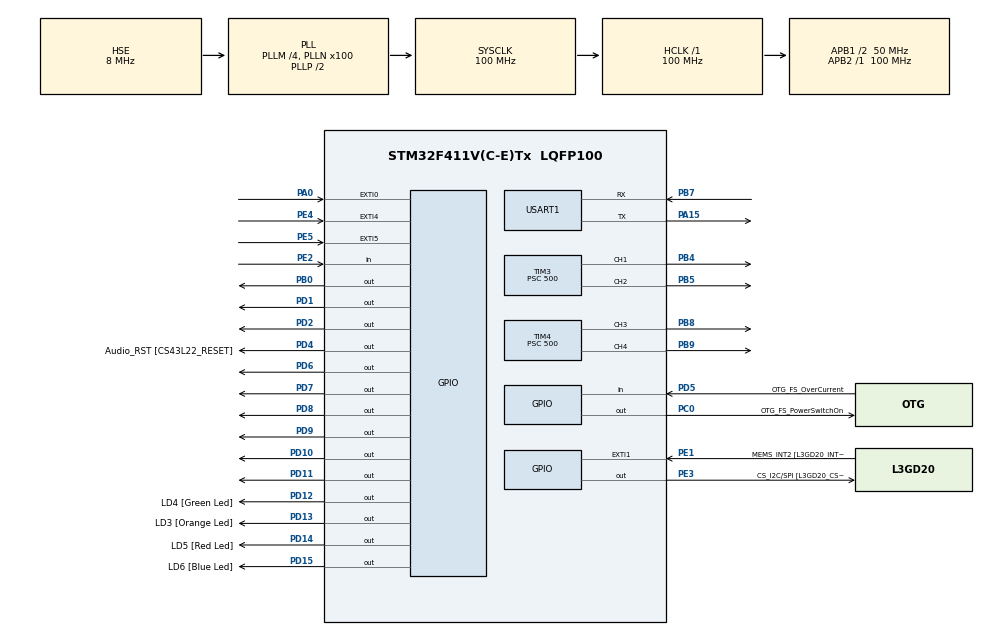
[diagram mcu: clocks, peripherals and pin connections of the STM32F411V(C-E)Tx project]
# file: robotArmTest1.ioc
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Mcu.Family=STM32F4
Mcu.Name=STM32F411V(C-E)Tx
Mcu.Package=LQFP100
NVIC.PriorityGroup=NVIC_PRIORITYGROUP_0
NVIC.TIM3_IRQn=true\:0\:0\:false\:false\:true\:true\:true
NVIC.TIM4_IRQn=true\:0\:0\:false\:false\:true\:true\:true
PA0-WKUP.GPIO_ModeDefaultEXTI=GPIO_MODE_EVT_RISING
PA0-WKUP.Signal=GPXTI0
PA10.GPIO_Label=OTG_FS_ID
PA10.Signal=USB_OTG_FS_ID
PA11.GPIO_Label=OTG_FS_DM
PA11.Signal=USB_OTG_FS_DM
PA12.GPIO_Label=OTG_FS_DP
PA12.Signal=USB_OTG_FS_DP
PA13.GPIO_Label=SWDIO
PA13.Mode=Serial_Wire
PA13.Signal=SYS_JTMS-SWDIO
PA14.GPIO_Label=SWCLK
PA14.Mode=Serial_Wire
PA14.Signal=SYS_JTCK-SWCLK
PA15.Mode=Asynchronous
PA15.Signal=USART1_TX
PA4.GPIO_Label=I2S3_WS [CS43L22_LRCK]
PA4.GPIO_Mode=GPIO_MODE_AF_PP
PA4.GPIO_PuPd=GPIO_NOPULL
PA4.GPIO_Speed=GPIO_SPEED_FREQ_LOW
PA4.Signal=I2S3_WS
PA5.GPIO_Label=SPI1_SCK [L3GD20_SC/SPC]
PA5.Signal=SPI1_SCK
PA6.GPIO_Label=SPI1_MISO [L3GD20_AS0/SDO]
PA6.Signal=SPI1_MISO
PA7.GPIO_Label=SPI1_MOSI [L3GD20_SDA/SDI/SDO]
PA7.Signal=SPI1_MOSI
PA9.GPIO_Label=VBUS_FS
PA9.Signal=USB_OTG_FS_VBUS
PB0.Signal=GPIO_Output
PB10.GPIO_Label=CLK_IN [MP45DT02_CLK]
PB10.Signal=I2S2_CK
PB12.Signal=I2S2_WS
PB3.GPIO_Label=SWO
PB3.Signal=SYS_JTDO-SWO
PB4.Signal=S_TIM3_CH1
PB5.Signal=S_TIM3_CH2
PB6.GPIO_Label=Audio_SCL [CS43L22_SCL]
PB6.GPIO_Mode=GPIO_MODE_AF_OD
PB6.GPIO_PuPd=GPIO_NOPULL
PB6.GPIO_Speed=GPIO_SPEED_FREQ_LOW
PB6.Signal=I2C1_SCL
PB7.Mode=Asynchronous
PB7.Signal=USART1_RX
PB8.Signal=S_TIM4_CH3
PB9.Signal=S_TIM4_CH4
PC0.GPIO_Label=OTG_FS_PowerSwitchOn
PC0.PinState=GPIO_PIN_SET
PC0.Signal=GPIO_Output
PC10.GPIO_Label=I2S3_SCK [CS43L22_SCLK]
PC10.GPIO_Mode=GPIO_MODE_AF_PP
PC10.GPIO_PuPd=GPIO_NOPULL
PC10.GPIO_Speed=GPIO_SPEED_FREQ_LOW
PC10.Signal=I2S3_CK
PC12.GPIO_Label=I2S3_SD [CS43L22_SDIN]
PC12.GPIO_Mode=GPIO_MODE_AF_PP
PC12.GPIO_PuPd=GPIO_NOPULL
PC12.GPIO_Speed=GPIO_SPEED_FREQ_LOW
PC12.Signal=I2S3_SD
PC14-OSC32_IN.GPIO_Label=PC14-OSC32_IN
PC14-OSC32_IN.Signal=RCC_OSC32_IN
PC15-OSC32_OUT.GPIO_Label=PC15-OSC32_OUT
PC15-OSC32_OUT.Signal=RCC_OSC32_OUT
PC3.GPIO_Label=PDM_OUT [MP45DT02_DOUT]
PC3.Signal=I2S2_SD
PC7.GPIO_Label=I2S3_MCK [CS43L22_MCLK]
PC7.GPIO_Mode=GPIO_MODE_AF_PP
PC7.GPIO_PuPd=GPIO_NOPULL
PC7.GPIO_Speed=GPIO_SPEED_FREQ_LOW
PC7.Signal=I2S3_MCK
PD1.Signal=GPIO_Output
PD10.Signal=GPIO_Output
PD11.Signal=GPIO_Output
PD12.GPIO_Label=LD4 [Green Led]
PD12.GPIO_PuPd=GPIO_NOPULL
PD12.GPIO_Speed=GPIO_SPEED_FREQ_LOW
PD12.Signal=GPIO_Output
PD13.GPIO_Label=LD3 [Orange Led]
PD13.GPIO_PuPd=GPIO_NOPULL
PD13.GPIO_Speed=GPIO_SPEED_FREQ_LOW
PD13.Signal=GPIO_Output
PD14.GPIO_Label=LD5 [Red Led]
PD14.GPIO_PuPd=GPIO_NOPULL
PD14.GPIO_Speed=GPIO_SPEED_FREQ_LOW
PD14.Signal=GPIO_Output
PD15.GPIO_Label=LD6 [Blue Led]
PD15.GPIO_PuPd=GPIO_NOPULL
PD15.GPIO_Speed=GPIO_SPEED_FREQ_LOW
PD15.Signal=GPIO_Output
PD2.Signal=GPIO_Output
PD4.GPIO_Label=Audio_RST [CS43L22_RESET]
PD4.Signal=GPIO_Output
PD5.GPIO_Label=OTG_FS_OverCurrent
PD5.Signal=GPIO_Input
PD6.Signal=GPIO_Output
PD7.Signal=GPIO_Output
PD8.Signal=GPIO_Output
PD9.Signal=GPIO_Output
PE1.GPIO_Label=MEMS_INT2 [L3GD20_INT2]
PE1.GPIO_ModeDefaultEXTI=GPIO_MODE_EVT_RISING
PE1.Signal=GPXTI1
PE2.Signal=GPIO_Input
PE3.GPIO_Label=CS_I2C/SPI [L3GD20_CS_I2C/SPI]
PE3.Signal=GPIO_Output
PE4.GPIO_ModeDefaultEXTI=GPIO_MODE_EVT_RISING
PE4.Signal=GPXTI4
PE5.GPIO_ModeDefaultEXTI=GPIO_MODE_EVT_RISING
PE5.Signal=GPXTI5
PH0\ -\ OSC_IN.GPIO_Label=PH0-OSC_IN
PH0\ -\ OSC_IN.Mode=HSE-External-Oscillator
PH0\ -\ OSC_IN.Signal=RCC_OSC_IN
PH1\ -\ OSC_OUT.GPIO_Label=PH1-OSC_OUT
PH1\ -\ OSC_OUT.Mode=HSE-External-Oscillator
PH1\ -\ OSC_OUT.Signal=RCC_OSC_OUT
ProjectManager.HeapSize=0x200
ProjectManager.StackSize=0x400
ProjectManager.TargetToolchain=STM32CubeIDE
RCC.48MHZClocksFreq_Value=25000000
RCC.AHBFreq_Value=100000000
RCC.APB1CLKDivider=RCC_HCLK_DIV2
RCC.APB1Freq_Value=50000000
RCC.APB1TimFreq_Value=100000000
RCC.APB2Freq_Value=100000000
RCC.APB2TimFreq_Value=100000000
RCC.CortexFreq_Value=100000000
RCC.HCLKFreq_Value=100000000
RCC.HSE_VALUE=8000000
RCC.HSI_VALUE=16000000
RCC.LSE_VALUE=32768
RCC.PLLI2SM=5
RCC.PLLI2SN=200
RCC.PLLM=4
RCC.PLLN=100
RCC.PLLQ=8
RCC.PLLSourceVirtual=RCC_PLLSOURCE_HSE
RCC.SYSCLKFreq_VALUE=100000000
RCC.SYSCLKSource=RCC_SYSCLKSOURCE_PLLCLK
RCC.VCOOutputFreq_Value=200000000
SH.S_TIM3_CH1.0=TIM3_CH1,PWM Generation1 CH1
SH.S_TIM3_CH2.0=TIM3_CH2,PWM Generation2 CH2
SH.S_TIM4_CH3.0=TIM4_CH3,PWM Generation3 CH3
SH.S_TIM4_CH4.0=TIM4_CH4,PWM Generation4 CH4
TIM3.Channel-PWM\ Generation1\ CH1=TIM_CHANNEL_1
TIM3.Channel-PWM\ Generation2\ CH2=TIM_CHANNEL_2
TIM3.Period=255
TIM3.Prescaler=500
TIM4.Channel-PWM\ Generation3\ CH3=TIM_CHANNEL_3
TIM4.Channel-PWM\ Generation4\ CH4=TIM_CHANNEL_4
TIM4.Period=255
TIM4.Prescaler=500
USART1.VirtualMode=VM_ASYNC
VP_TIM3_VS_ClockSourceINT.Mode=Internal
VP_TIM4_VS_ClockSourceINT.Mode=Internal
board=STM32F411E-DISCO

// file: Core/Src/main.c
/* USER CODE BEGIN Header */
/**
  ******************************************************************************
  * @file           : main.c
  * @brief          : Main program body
  ******************************************************************************
  * @attention
  *
  * <h2><center>&copy; Copyright (c) 2021 STMicroelectronics.
  * All rights reserved.</center></h2>
  *
  * This software component is licensed by ST under BSD 3-Clause license,
  * the "License"; You may not use this file except in compliance with the
  * License. You may obtain a copy of the License at:
  *                        opensource.org/licenses/BSD-3-Clause
  *
  ******************************************************************************
  */
/* USER CODE END Header */

#include "main.h"

/* USER CODE BEGIN Includes */
#include "stepperMotor.h"
#include "uartDriver.h"
/* USER CODE END Includes */

TIM_HandleTypeDef htim3;
TIM_HandleTypeDef htim4;

UART_HandleTypeDef huart1;

/* USER CODE BEGIN PV */
typedef struct
{
	uint32_t step[BUFFER_SIZE];
	uint32_t dir[BUFFER_SIZE];
	uint32_t headPointer;
	uint32_t tailPointer;
} stepMotorCommandT;

stepMotorCommandT stepMotorCommand[NUMBER_OF_MOTORS];

volatile int motor1intFlag=0, motor2intFlag=0, motor3intFlag=0;

/* USER CODE END PV */

void SystemClock_Config(void);
static void MX_GPIO_Init(void);
static void MX_TIM3_Init(void);
static void MX_TIM4_Init(void);
static void MX_USART1_UART_Init(void);
/* USER CODE BEGIN PFP */
void motor_get_command(void);
uint32_t motorCommCount(stepMotorCommandT* motor);
/* USER CODE END PFP */

int main(void)
{
  /* USER CODE BEGIN 1 */
	uint32_t i;
int localmotor1intFlag=0, localmotor2intFlag=0, localmotor3intFlag=0;
  /* USER CODE END 1 */

  /* MCU Configuration--------------------------------------------------------*/

  /* Reset of all peripherals, Initializes the Flash interface and the Systick. */
  HAL_Init();

  /* Configure the system clock */
  SystemClock_Config();

  /* Initialize all configured peripherals */
  MX_GPIO_Init();
  MX_TIM3_Init();
  MX_TIM4_Init();
  MX_USART1_UART_Init();
  /* USER CODE BEGIN 2 */
  __HAL_TIM_SET_COMPARE(&htim3,TIM_CHANNEL_1, 128);
  __HAL_TIM_SET_COMPARE(&htim3,TIM_CHANNEL_2, 128);
  __HAL_TIM_SET_COMPARE(&htim4,TIM_CHANNEL_3, 128);
  //__HAL_TIM_SET_COMPARE(&htim4,TIM_CHANNEL_4, 128);
  HAL_Delay(10);
  /* USER CODE END 2 */

  /* Infinite loop */
  /* USER CODE BEGIN WHILE */
  while (1)
  {
	  motor_get_command();
	  for(i = 0; i < NUMBER_OF_MOTORS; i++)
	  {
		  if ((motorCommCount(&stepMotorCommand[i]) > 0) && (stepperMotors[i].state == 0))
		  {
			stepperMotorMove(i, (uint8_t)(stepMotorCommand[i].dir[stepMotorCommand[i].tailPointer]), stepMotorCommand[i].step[stepMotorCommand[i].tailPointer]);
			stepMotorCommand[i].tailPointer++;
			if(stepMotorCommand[i].tailPointer == BUFFER_SIZE)
			{
				stepMotorCommand[i].tailPointer = 0;
			}
		  }
	  }

	  localmotor1intFlag = motor1intFlag;
	  localmotor2intFlag = motor2intFlag;
	  localmotor3intFlag = motor3intFlag;
	  //localmotor4intFlag = motor4intFlag;

	  if (localmotor1intFlag==1)
	  {
		  motor1intFlag = 0;
		  stepperMotors[0].stepCounter++;
		  if(stepperMotors[0].stepCounter == stepperMotors[0].step)
		  {
			  //HAL_TIM_PWM_Stop_IT(&htim3,TIM_CHANNEL_1);	// PWM'i durdur.
			  TIM3->CCER &= (~TIM_CCER_CC1E);
			  stepperMotors[0].stepCounter = 0;
			  stepperMotors[0].state = 0;
			  stepperMotors[0].step = 0;
		  }
		  else
		  {
			  TIM3->DIER |= TIM_DIER_CC1IE;
		  }
	  }

	  if (localmotor2intFlag==1)
	  {
		  motor2intFlag = 0;
		  stepperMotors[1].stepCounter++;
		  if(stepperMotors[1].stepCounter == stepperMotors[1].step)
		  {
			  //HAL_TIM_PWM_Stop_IT(&htim3, TIM_CHANNEL_2);
			  TIM3->CCER &= (~TIM_CCER_CC2E);
			  stepperMotors[1].stepCounter = 0;
			  stepperMotors[1].state = 0;
			  stepperMotors[1].step = 0;
		  }
		  else
		  {
			  TIM3->DIER |= TIM_DIER_CC2IE;
		  }
	  }

	  if (localmotor3intFlag==1)
	  {
		  motor3intFlag = 0;
		  stepperMotors[2].stepCounter++;
		  if (stepperMotors[2].stepCounter == stepperMotors[2].step)
		  {
			  //HAL_TIM_PWM_Stop_IT(&htim4, TIM_CHANNEL_3);
			  TIM4->CCER &= (~TIM_CCER_CC3E);
			  stepperMotors[2].stepCounter = 0;
			  stepperMotors[2].state = 0;
			  stepperMotors[2].step = 0;
		  }
		  else
		  {
			  TIM4->DIER |= TIM_DIER_CC3IE;
		  }
	  }

    /* USER CODE END WHILE */

  }
}

void SystemClock_Config(void)
{
  RCC_OscInitTypeDef RCC_OscInitStruct = {0};
  RCC_ClkInitTypeDef RCC_ClkInitStruct = {0};

  /** Configure the main internal regulator output voltage
  */
  __HAL_RCC_PWR_CLK_ENABLE();
  __HAL_PWR_VOLTAGESCALING_CONFIG(PWR_REGULATOR_VOLTAGE_SCALE1);
  /** Initializes the CPU, AHB and APB busses clocks
  */
  RCC_OscInitStruct.OscillatorType = RCC_OSCILLATORTYPE_HSE;
  RCC_OscInitStruct.HSEState = RCC_HSE_ON;
  RCC_OscInitStruct.PLL.PLLState = RCC_PLL_ON;
  RCC_OscInitStruct.PLL.PLLSource = RCC_PLLSOURCE_HSE;
  RCC_OscInitStruct.PLL.PLLM = 4;
  RCC_OscInitStruct.PLL.PLLN = 100;
  RCC_OscInitStruct.PLL.PLLP = RCC_PLLP_DIV2;
  RCC_OscInitStruct.PLL.PLLQ = 8;
  if (HAL_RCC_OscConfig(&RCC_OscInitStruct) != HAL_OK)
  {
    Error_Handler();
  }
  /** Initializes the CPU, AHB and APB busses clocks
  */
  RCC_ClkInitStruct.ClockType = RCC_CLOCKTYPE_HCLK|RCC_CLOCKTYPE_SYSCLK
                              |RCC_CLOCKTYPE_PCLK1|RCC_CLOCKTYPE_PCLK2;
  RCC_ClkInitStruct.SYSCLKSource = RCC_SYSCLKSOURCE_PLLCLK;
  RCC_ClkInitStruct.AHBCLKDivider = RCC_SYSCLK_DIV1;
  RCC_ClkInitStruct.APB1CLKDivider = RCC_HCLK_DIV2;
  RCC_ClkInitStruct.APB2CLKDivider = RCC_HCLK_DIV1;

  if (HAL_RCC_ClockConfig(&RCC_ClkInitStruct, FLASH_LATENCY_3) != HAL_OK)
  {
    Error_Handler();
  }
}

static void MX_TIM3_Init(void)
{

  TIM_ClockConfigTypeDef sClockSourceConfig = {0};
  TIM_MasterConfigTypeDef sMasterConfig = {0};
  TIM_OC_InitTypeDef sConfigOC = {0};

  htim3.Instance = TIM3;
  htim3.Init.Prescaler = 12000;
  htim3.Init.CounterMode = TIM_COUNTERMODE_UP;
  htim3.Init.Period = 255;
  htim3.Init.ClockDivision = TIM_CLOCKDIVISION_DIV1;
  htim3.Init.AutoReloadPreload = TIM_AUTORELOAD_PRELOAD_DISABLE;
  if (HAL_TIM_Base_Init(&htim3) != HAL_OK)
  {
    Error_Handler();
  }
  sClockSourceConfig.ClockSource = TIM_CLOCKSOURCE_INTERNAL;
  if (HAL_TIM_ConfigClockSource(&htim3, &sClockSourceConfig) != HAL_OK)
  {
    Error_Handler();
  }
  if (HAL_TIM_PWM_Init(&htim3) != HAL_OK)
  {
    Error_Handler();
  }
  sMasterConfig.MasterOutputTrigger = TIM_TRGO_RESET;
  sMasterConfig.MasterSlaveMode = TIM_MASTERSLAVEMODE_DISABLE;
  if (HAL_TIMEx_MasterConfigSynchronization(&htim3, &sMasterConfig) != HAL_OK)
  {
    Error_Handler();
  }
  sConfigOC.OCMode = TIM_OCMODE_PWM1;
  sConfigOC.Pulse = 0;
  sConfigOC.OCPolarity = TIM_OCPOLARITY_HIGH;
  sConfigOC.OCFastMode = TIM_OCFAST_DISABLE;
  if (HAL_TIM_PWM_ConfigChannel(&htim3, &sConfigOC, TIM_CHANNEL_1) != HAL_OK)
  {
    Error_Handler();
  }
  if (HAL_TIM_PWM_ConfigChannel(&htim3, &sConfigOC, TIM_CHANNEL_2) != HAL_OK)
  {
    Error_Handler();
  }
  HAL_TIM_MspPostInit(&htim3);

}

static void MX_TIM4_Init(void)
{

  TIM_ClockConfigTypeDef sClockSourceConfig = {0};
  TIM_MasterConfigTypeDef sMasterConfig = {0};
  TIM_OC_InitTypeDef sConfigOC = {0};

  htim4.Instance = TIM4;
  htim4.Init.Prescaler = 4000;
  htim4.Init.CounterMode = TIM_COUNTERMODE_UP;
  htim4.Init.Period = 255;
  htim4.Init.ClockDivision = TIM_CLOCKDIVISION_DIV1;
  htim4.Init.AutoReloadPreload = TIM_AUTORELOAD_PRELOAD_DISABLE;
  if (HAL_TIM_Base_Init(&htim4) != HAL_OK)
  {
    Error_Handler();
  }
  sClockSourceConfig.ClockSource = TIM_CLOCKSOURCE_INTERNAL;
  if (HAL_TIM_ConfigClockSource(&htim4, &sClockSourceConfig) != HAL_OK)
  {
    Error_Handler();
  }
  if (HAL_TIM_PWM_Init(&htim4) != HAL_OK)
  {
    Error_Handler();
  }
  sMasterConfig.MasterOutputTrigger = TIM_TRGO_RESET;
  sMasterConfig.MasterSlaveMode = TIM_MASTERSLAVEMODE_DISABLE;
  if (HAL_TIMEx_MasterConfigSynchronization(&htim4, &sMasterConfig) != HAL_OK)
  {
    Error_Handler();
  }
  sConfigOC.OCMode = TIM_OCMODE_PWM1;
  sConfigOC.Pulse = 0;
  sConfigOC.OCPolarity = TIM_OCPOLARITY_HIGH;
  sConfigOC.OCFastMode = TIM_OCFAST_DISABLE;
  if (HAL_TIM_PWM_ConfigChannel(&htim4, &sConfigOC, TIM_CHANNEL_3) != HAL_OK)
  {
    Error_Handler();
  }
  if (HAL_TIM_PWM_ConfigChannel(&htim4, &sConfigOC, TIM_CHANNEL_4) != HAL_OK)
  {
    Error_Handler();
  }
  HAL_TIM_MspPostInit(&htim4);

}

static void MX_USART1_UART_Init(void)
{

  huart1.Instance = USART1;
  huart1.Init.BaudRate = 115200;
  huart1.Init.WordLength = UART_WORDLENGTH_8B;
  huart1.Init.StopBits = UART_STOPBITS_1;
  huart1.Init.Parity = UART_PARITY_NONE;
  huart1.Init.Mode = UART_MODE_TX_RX;
  huart1.Init.HwFlowCtl = UART_HWCONTROL_NONE;
  huart1.Init.OverSampling = UART_OVERSAMPLING_16;
  if (HAL_UART_Init(&huart1) != HAL_OK)
  {
    Error_Handler();
  }
  /* USER CODE BEGIN USART1_Init 2 */
  SET_BIT(USART1->CR1, USART_CR1_RXNEIE);

  HAL_NVIC_SetPriority(USART1_IRQn, 1, 0);
  HAL_NVIC_EnableIRQ(USART1_IRQn);
  /* USER CODE END USART1_Init 2 */

}

static void MX_GPIO_Init(void)
{
  GPIO_InitTypeDef GPIO_InitStruct = {0};

  /* GPIO Ports Clock Enable */
  __HAL_RCC_GPIOE_CLK_ENABLE();
  __HAL_RCC_GPIOC_CLK_ENABLE();
  __HAL_RCC_GPIOH_CLK_ENABLE();
  __HAL_RCC_GPIOA_CLK_ENABLE();
  __HAL_RCC_GPIOB_CLK_ENABLE();
  __HAL_RCC_GPIOD_CLK_ENABLE();

  /*Configure GPIO pin Output Level */
  HAL_GPIO_WritePin(CS_I2C_SPI_GPIO_Port, CS_I2C_SPI_Pin, GPIO_PIN_RESET);

  /*Configure GPIO pin Output Level */
  HAL_GPIO_WritePin(OTG_FS_PowerSwitchOn_GPIO_Port, OTG_FS_PowerSwitchOn_Pin, GPIO_PIN_SET);

  /*Configure GPIO pin Output Level */
  HAL_GPIO_WritePin(GPIOB, GPIO_PIN_0, GPIO_PIN_RESET);

  /*Configure GPIO pin Output Level */
  HAL_GPIO_WritePin(GPIOD, GPIO_PIN_8|GPIO_PIN_9|GPIO_PIN_10|GPIO_PIN_11
                          |LD4_Pin|LD3_Pin|LD5_Pin|LD6_Pin
                          |GPIO_PIN_1|GPIO_PIN_2|Audio_RST_Pin|GPIO_PIN_6
                          |GPIO_PIN_7, GPIO_PIN_RESET);

  /*Configure GPIO pin : PE2 */
  GPIO_InitStruct.Pin = GPIO_PIN_2;
  GPIO_InitStruct.Mode = GPIO_MODE_INPUT;
  GPIO_InitStruct.Pull = GPIO_NOPULL;
  HAL_GPIO_Init(GPIOE, &GPIO_InitStruct);

  /*Configure GPIO pin : CS_I2C_SPI_Pin */
  GPIO_InitStruct.Pin = CS_I2C_SPI_Pin;
  GPIO_InitStruct.Mode = GPIO_MODE_OUTPUT_PP;
  GPIO_InitStruct.Pull = GPIO_NOPULL;
  GPIO_InitStruct.Speed = GPIO_SPEED_FREQ_LOW;
  HAL_GPIO_Init(CS_I2C_SPI_GPIO_Port, &GPIO_InitStruct);

  /*Configure GPIO pins : PE4 PE5 MEMS_INT2_Pin */
  GPIO_InitStruct.Pin = GPIO_PIN_4|GPIO_PIN_5|MEMS_INT2_Pin;
  GPIO_InitStruct.Mode = GPIO_MODE_EVT_RISING;
  GPIO_InitStruct.Pull = GPIO_NOPULL;
  HAL_GPIO_Init(GPIOE, &GPIO_InitStruct);

  /*Configure GPIO pin : OTG_FS_PowerSwitchOn_Pin */
  GPIO_InitStruct.Pin = OTG_FS_PowerSwitchOn_Pin;
  GPIO_InitStruct.Mode = GPIO_MODE_OUTPUT_PP;
  GPIO_InitStruct.Pull = GPIO_NOPULL;
  GPIO_InitStruct.Speed = GPIO_SPEED_FREQ_LOW;
  HAL_GPIO_Init(OTG_FS_PowerSwitchOn_GPIO_Port, &GPIO_InitStruct);

  /*Configure GPIO pin : PDM_OUT_Pin */
  GPIO_InitStruct.Pin = PDM_OUT_Pin;
  GPIO_InitStruct.Mode = GPIO_MODE_AF_PP;
  GPIO_InitStruct.Pull = GPIO_NOPULL;
  GPIO_InitStruct.Speed = GPIO_SPEED_FREQ_LOW;
  GPIO_InitStruct.Alternate = GPIO_AF5_SPI2;
  HAL_GPIO_Init(PDM_OUT_GPIO_Port, &GPIO_InitStruct);

  /*Configure GPIO pin : PA0 */
  GPIO_InitStruct.Pin = GPIO_PIN_0;
  GPIO_InitStruct.Mode = GPIO_MODE_EVT_RISING;
  GPIO_InitStruct.Pull = GPIO_NOPULL;
  HAL_GPIO_Init(GPIOA, &GPIO_InitStruct);

  /*Configure GPIO pin : I2S3_WS_Pin */
  GPIO_InitStruct.Pin = I2S3_WS_Pin;
  GPIO_InitStruct.Mode = GPIO_MODE_AF_PP;
  GPIO_InitStruct.Pull = GPIO_NOPULL;
  GPIO_InitStruct.Speed = GPIO_SPEED_FREQ_LOW;
  GPIO_InitStruct.Alternate = GPIO_AF6_SPI3;
  HAL_GPIO_Init(I2S3_WS_GPIO_Port, &GPIO_InitStruct);

  /*Configure GPIO pins : SPI1_SCK_Pin SPI1_MISO_Pin SPI1_MOSI_Pin */
  GPIO_InitStruct.Pin = SPI1_SCK_Pin|SPI1_MISO_Pin|SPI1_MOSI_Pin;
  GPIO_InitStruct.Mode = GPIO_MODE_AF_PP;
  GPIO_InitStruct.Pull = GPIO_NOPULL;
  GPIO_InitStruct.Speed = GPIO_SPEED_FREQ_VERY_HIGH;
  GPIO_InitStruct.Alternate = GPIO_AF5_SPI1;
  HAL_GPIO_Init(GPIOA, &GPIO_InitStruct);

  /*Configure GPIO pin : PB0 */
  GPIO_InitStruct.Pin = GPIO_PIN_0;
  GPIO_InitStruct.Mode = GPIO_MODE_OUTPUT_PP;
  GPIO_InitStruct.Pull = GPIO_NOPULL;
  GPIO_InitStruct.Speed = GPIO_SPEED_FREQ_LOW;
  HAL_GPIO_Init(GPIOB, &GPIO_InitStruct);

  /*Configure GPIO pins : CLK_IN_Pin PB12 */
  GPIO_InitStruct.Pin = CLK_IN_Pin|GPIO_PIN_12;
  GPIO_InitStruct.Mode = GPIO_MODE_AF_PP;
  GPIO_InitStruct.Pull = GPIO_NOPULL;
  GPIO_InitStruct.Speed = GPIO_SPEED_FREQ_LOW;
  GPIO_InitStruct.Alternate = GPIO_AF5_SPI2;
  HAL_GPIO_Init(GPIOB, &GPIO_InitStruct);

  /*Configure GPIO pins : PD8 PD9 PD10 PD11
                           LD4_Pin LD3_Pin LD5_Pin LD6_Pin
                           PD1 PD2 Audio_RST_Pin PD6
                           PD7 */
  GPIO_InitStruct.Pin = GPIO_PIN_8|GPIO_PIN_9|GPIO_PIN_10|GPIO_PIN_11
                          |LD4_Pin|LD3_Pin|LD5_Pin|LD6_Pin
                          |GPIO_PIN_1|GPIO_PIN_2|Audio_RST_Pin|GPIO_PIN_6
                          |GPIO_PIN_7;
  GPIO_InitStruct.Mode = GPIO_MODE_OUTPUT_PP;
  GPIO_InitStruct.Pull = GPIO_NOPULL;
  GPIO_InitStruct.Speed = GPIO_SPEED_FREQ_LOW;
  HAL_GPIO_Init(GPIOD, &GPIO_InitStruct);

  /*Configure GPIO pins : I2S3_MCK_Pin I2S3_SCK_Pin I2S3_SD_Pin */
  GPIO_InitStruct.Pin = I2S3_MCK_Pin|I2S3_SCK_Pin|I2S3_SD_Pin;
  GPIO_InitStruct.Mode = GPIO_MODE_AF_PP;
  GPIO_InitStruct.Pull = GPIO_NOPULL;
  GPIO_InitStruct.Speed = GPIO_SPEED_FREQ_LOW;
  GPIO_InitStruct.Alternate = GPIO_AF6_SPI3;
  HAL_GPIO_Init(GPIOC, &GPIO_InitStruct);

  /*Configure GPIO pin : VBUS_FS_Pin */
  GPIO_InitStruct.Pin = VBUS_FS_Pin;
  GPIO_InitStruct.Mode = GPIO_MODE_INPUT;
  GPIO_InitStruct.Pull = GPIO_NOPULL;
  HAL_GPIO_Init(VBUS_FS_GPIO_Port, &GPIO_InitStruct);

  /*Configure GPIO pins : OTG_FS_ID_Pin OTG_FS_DM_Pin OTG_FS_DP_Pin */
  GPIO_InitStruct.Pin = OTG_FS_ID_Pin|OTG_FS_DM_Pin|OTG_FS_DP_Pin;
  GPIO_InitStruct.Mode = GPIO_MODE_AF_PP;
  GPIO_InitStruct.Pull = GPIO_NOPULL;
  GPIO_InitStruct.Speed = GPIO_SPEED_FREQ_VERY_HIGH;
  GPIO_InitStruct.Alternate = GPIO_AF10_OTG_FS;
  HAL_GPIO_Init(GPIOA, &GPIO_InitStruct);

  /*Configure GPIO pin : OTG_FS_OverCurrent_Pin */
  GPIO_InitStruct.Pin = OTG_FS_OverCurrent_Pin;
  GPIO_InitStruct.Mode = GPIO_MODE_INPUT;
  GPIO_InitStruct.Pull = GPIO_NOPULL;
  HAL_GPIO_Init(OTG_FS_OverCurrent_GPIO_Port, &GPIO_InitStruct);

  /*Configure GPIO pin : Audio_SCL_Pin */
  GPIO_InitStruct.Pin = Audio_SCL_Pin;
  GPIO_InitStruct.Mode = GPIO_MODE_AF_OD;
  GPIO_InitStruct.Pull = GPIO_PULLUP;
  GPIO_InitStruct.Speed = GPIO_SPEED_FREQ_LOW;
  GPIO_InitStruct.Alternate = GPIO_AF4_I2C1;
  HAL_GPIO_Init(Audio_SCL_GPIO_Port, &GPIO_InitStruct);

}

/* USER CODE BEGIN 4 */
uint32_t motorCommCount(stepMotorCommandT* motor)
{

	return (motor->headPointer - motor->tailPointer);

}

void motor_get_command(void)
{

	uint32_t motorCommandTempBuff[5]={0};

	if (USART_BytesToRead() > 0 && (USART_BytesToRead() %5 == 0))
	{
		uint32_t i;
		for (i=0; i < 5; i++)
		{
			motorCommandTempBuff[i] = (uint32_t)(USART_ReadByte());
		}

		if (motorCommandTempBuff[0] == '@')
		{
			switch (motorCommandTempBuff[1])
			{

			case 1:
			{
				stepMotorCommand[0].step[stepMotorCommand[0].headPointer] =	(motorCommandTempBuff[3] | (motorCommandTempBuff[4] << 8));
				stepMotorCommand[0].dir[stepMotorCommand[0].headPointer] =	motorCommandTempBuff[2];
				stepMotorCommand[0].headPointer++;
				if (stepMotorCommand[0].headPointer == BUFFER_SIZE)
				{
					stepMotorCommand[0].headPointer = 0;
				}
				break;
			}

			case 2:
			{
				stepMotorCommand[1].step[stepMotorCommand[1].headPointer] =	(motorCommandTempBuff[3] | (motorCommandTempBuff[4] << 8));
				stepMotorCommand[1].dir[stepMotorCommand[1].headPointer] =	motorCommandTempBuff[2];
				stepMotorCommand[1].headPointer++;
				if (stepMotorCommand[1].headPointer == BUFFER_SIZE)
				{
					stepMotorCommand[1].headPointer = 0;
				}
				break;
			}

			case 3:
			{
				stepMotorCommand[2].step[stepMotorCommand[2].headPointer] =	(motorCommandTempBuff[3] | (motorCommandTempBuff[4] << 8));
				stepMotorCommand[2].dir[stepMotorCommand[2].headPointer] =	motorCommandTempBuff[2];
				stepMotorCommand[2].headPointer++;
				if (stepMotorCommand[2].headPointer == BUFFER_SIZE)
				{
					stepMotorCommand[2].headPointer = 0;
				}
				break;
			}

			default:
			{
				break;
			}

			}
		}
	}

}
/* USER CODE END 4 */

void Error_Handler(void)
{
}

/************************ (C) COPYRIGHT STMicroelectronics *****END OF FILE****/
